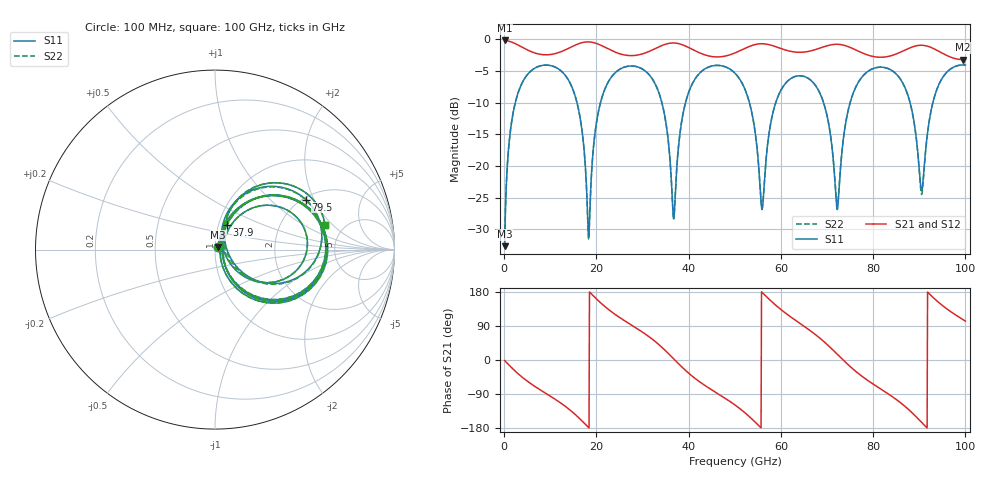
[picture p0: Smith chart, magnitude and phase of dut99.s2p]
! Touchstone file exported from HFSS 2026.1.0
!  File:  C:/ffzhzh/LocalFiles/Ansys_Project_Files/temp_train_TSV_RDL_99_1783632948_26216.aedt
!  Generated:  05:44:26 AM Jul 10, 2026
!  Design:  TSV_RDL
!  Project:  temp_train_TSV_RDL_99_1783632948_26216
! Variables:
!  h_bsmrdl = 4.08um
!  h_ox = 20um
!  h_rdl = 5um
!  h_sub = 52.72um
!  h_tmrdl = 3.05um
!  h_tsv = 52.72um
!  h_via = 3um
!  l_bsmrdl = 670.19um
!  l_sub = 3524.04um
!  l_tmrdl = 250.4um
!  m_sub = 200um
!  pitch = 53.4um
!  r_tsv = 5.54um
!  s_tmrdl = 10um
!  w_bsmrdl = 18.8um
!  w_sub = 500um
!  w_tmrdl = 18.49um
!  x_tsv_center1 = 259.645um
!  x_tsv_center2 = 948.635um
!  x_tsv_center3 = 1217.525um
!  x_tsv_center4 = 1906.515um
!  x_tsv_center5 = 2175.405um
!  x_tsv_center6 = 2864.395um
# GHz S MA R 50.000000
! Terminal data exported
! Port[1] = TM_RDL1_1_T1
! Port[2] = TM_RDL5_1_T1
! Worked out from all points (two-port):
!   1000 points, 100 MHz to 100 GHz, reference 50 ohm
!   highest |S21| = -0.16 dB at 100 MHz (marker M1); lowest = -3.2 dB at 99.4 GHz (marker M2)
!   |S21| within 3 dB of the highest: start of sweep to 98.8 GHz; 99.89586 GHz to end of sweep
!   lowest |S11| = -32.7 dB at 100 MHz (marker M3), VSWR 1.05, Z = 51.8 + j1.53 ohm
!   |S11| at or under -10 dB: 34.2 GHz to 39.32 GHz (5.122 GHz wide, 13.9 % of centre); 53.18 GHz to 58.88 GHz (5.695 GHz wide, 10.2 % of centre); 69.25 GHz to 75.01 GHz (5.754 GHz wide, 7.98 % of centre) (the widest 3 of 6)
!   |S22| runs from -32.7 to -4.0 dB; largest |S21 - S12| = 5.8e-13
!   S11 on the Smith chart (normalised r, x): 100 MHz: 1.04, +0.03; 37.9 GHz: 1.10, +0.31; 79.5 GHz: 2.08, +1.73; 100 GHz: 3.59, +1.63
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0.1  0.02325 39.3  0.9822 -1.3  0.9822 -1.3  0.02325 39.3
! Gamma 0 0 0 0
! Port Impedance 50 0 50 0
1.7  0.2333 63.5  0.9511 -21.2  0.9511 -21.2  0.2333 63.5
5.1  0.5307 31.1  0.8244 -56.5  0.8244 -56.5  0.5307 31.1
16.8  0.201 -63.8  0.9419 -159.7  0.9419 -159.7  0.2009 -63.9
18.3  0.02715 -4.9  0.9572 -178.1  0.9572 -178.1  0.0265 -5.1
22.7  0.4705 39.3  0.8374 132.6  0.8374 132.6  0.4704 39.4
33.4  0.3922 -44.5  0.8691 42.2  0.8691 42.2  0.3922 -44.3
36.7  0.03837 -8.3  0.9387 3.7  0.9387 3.7  0.03968 -7.8
37.9  0.1545 64.4  0.926 -11.0  0.926 -11.0  0.1548 64.0
41.9  0.5173 33.6  0.7978 -53.3  0.7978 -53.3  0.5174 33.5
50.1  0.5388 -27.3  0.7842 -119.2  0.7842 -119.2  0.5387 -27.3
55.9  0.04523 -3.6  0.9254 178.5  0.9254 178.5  0.04596 -3.4
59.5  0.3638 42.5  0.861 138.2  0.861 138.2  0.3641 42.5
66.7  0.4683 -14.4  0.8162 74.3  0.8162 74.3  0.4687 -14.2
72.2  0.04521 11.0  0.9162 15.6  0.9162 15.6  0.04925 11.1
74.9  0.306 65.7  0.8688 -16.0  0.8688 -16.0  0.3065 64.9
79.5  0.578 28.8  0.7409 -59.5  0.7409 -59.5  0.5782 28.3
83.4  0.5854 0.6  0.736 -90.5  0.736 -90.5  0.5855 0.2
90.5  0.06372 13.6  0.9004 -164.5  0.9004 -164.5  0.05955 13.1
93.7  0.3926 59.3  0.8259 157.3  0.8259 157.3  0.3918 59.6
99.4  0.6294 16.5  0.6938 107.2  0.6938 107.2  0.6291 16.5
100  0.6281 12.7  0.696 102.6  0.696 102.6  0.6278 12.6
